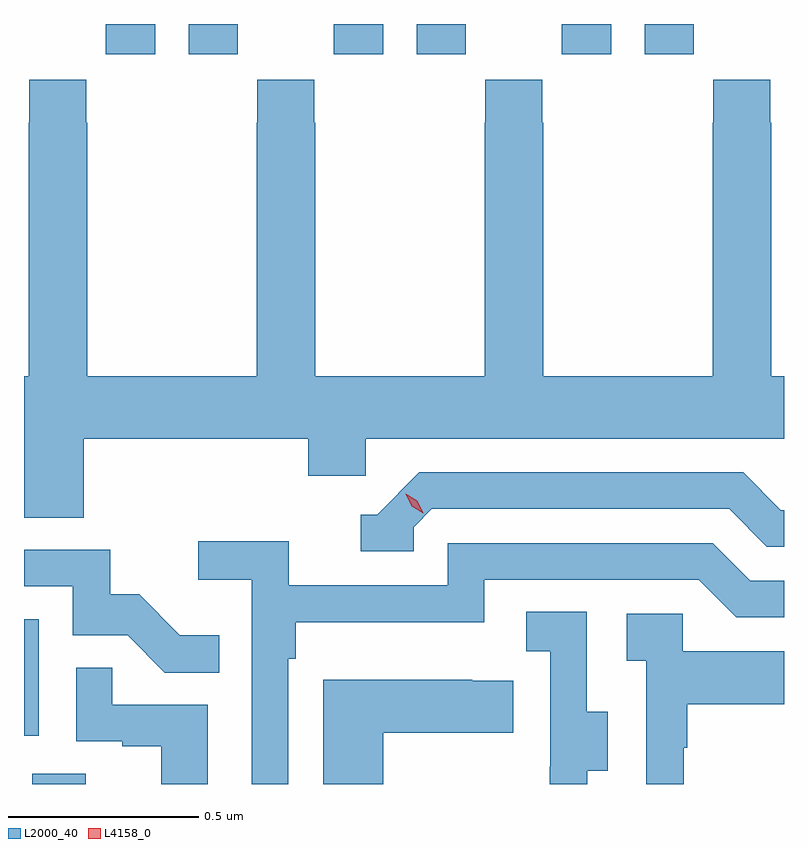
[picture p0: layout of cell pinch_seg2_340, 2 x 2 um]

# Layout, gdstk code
import gdstk
lib = gdstk.Library(unit=1e-6, precision=1e-09)
def R(c, l, rs):  # rectangles x0, y0, x1, y1
    for r in rs: c.add(gdstk.rectangle(r[:2], r[2:], *l))
def P(c, l, *ps):  # polygons
    for p in ps: c.add(gdstk.Polygon(p, *l))
L2000_40 = (2000, 40)
L4158_0 = (4158, 0)

pinch_seg2_340 = lib.new_cell('pinch_seg2_340')
R(pinch_seg2_340, L2000_40, [(974.213,630.743,974.353,630.77), (974.191,630.87,974.23,631.177), (974.406,632.664,974.536,632.743), (974.624,632.664,974.754,632.743), (975.006,632.664,975.136,632.743), (975.224,632.664,975.354,632.743), (975.606,632.664,975.736,632.743), (975.824,632.664,975.954,632.743)])
P(pinch_seg2_340, L2000_40, [(974.348,631.652),(974.939,631.652),(974.939,631.554),(975.09,631.554),(975.09,631.652),(976.191,631.652),(976.191,631.816),(976.158,631.816),(976.158,632.483),(976.155,632.483),(976.155,632.596),(976.005,632.596),(976.005,632.483),(976.003,632.483),(976.003,631.816),(975.558,631.816),(975.558,632.483),(975.555,632.483),(975.555,632.596),(975.405,632.596),(975.405,632.483),(975.403,632.483),(975.403,631.816),(974.958,631.816),(974.958,632.483),(974.955,632.483),(974.955,632.596),(974.805,632.596),(974.805,632.483),(974.803,632.483),(974.803,631.816),(974.358,631.816),(974.358,632.483),(974.355,632.483),(974.355,632.596),(974.205,632.596),(974.205,632.483),(974.203,632.483),(974.203,631.816),(974.191,631.816),(974.191,631.444),(974.348,631.444)],
  [(975.216,631.419),(975.264,631.467),(976.047,631.467),(976.146,631.368),(976.191,631.368),(976.191,631.464),(976.183,631.464),(976.084,631.563),(975.231,631.563),(975.12,631.452),(975.077,631.452),(975.077,631.356),(975.216,631.356)],
  [(974.886,631.073),(974.906,631.073),(974.906,631.169),(975.402,631.169),(975.402,631.281),(975.966,631.281),(976.065,631.182),(976.191,631.182),(976.191,631.278),(976.102,631.278),(976.003,631.377),(975.306,631.377),(975.306,631.266),(974.888,631.266),(974.888,631.382),(974.649,631.382),(974.649,631.28),(974.79,631.28),(974.79,630.743),(974.886,630.743)],
  [(974.705,631.135),(974.601,631.135),(974.494,631.242),(974.418,631.242),(974.418,631.359),(974.191,631.359),(974.191,631.263),(974.319,631.263),(974.319,631.134),(974.464,631.134),(974.562,631.036),(974.705,631.036)],
  [(975.673,630.778),(975.727,630.778),(975.727,630.933),(975.672,630.933),(975.672,631.196),(975.513,631.196),(975.513,631.093),(975.576,631.093),(975.576,630.789),(975.575,630.789),(975.575,630.743),(975.673,630.743)],
  [(975.927,630.839),(975.937,630.839),(975.937,630.953),(976.191,630.953),(976.191,631.093),(975.924,631.093),(975.924,631.191),(975.777,631.191),(975.777,631.067),(975.828,631.067),(975.828,630.743),(975.927,630.743)],
  [(974.674,630.951),(974.423,630.951),(974.423,631.049),(974.328,631.049),(974.328,630.855),(974.449,630.855),(974.449,630.843),(974.552,630.843),(974.552,630.743),(974.674,630.743)],
  [(975.136,630.878),(975.479,630.878),(975.479,631.015),(975.371,631.015),(975.371,631.018),(974.978,631.018),(974.978,630.743),(975.136,630.743)])
P(pinch_seg2_340, L4158_0, [(975.242,631.455),(975.211,631.474),(975.195,631.507),(975.195,631.507),(975.195,631.507),(975.226,631.488),(975.242,631.455),(975.242,631.455)])

lib.write_gds('pinch_seg2_340.gds')
